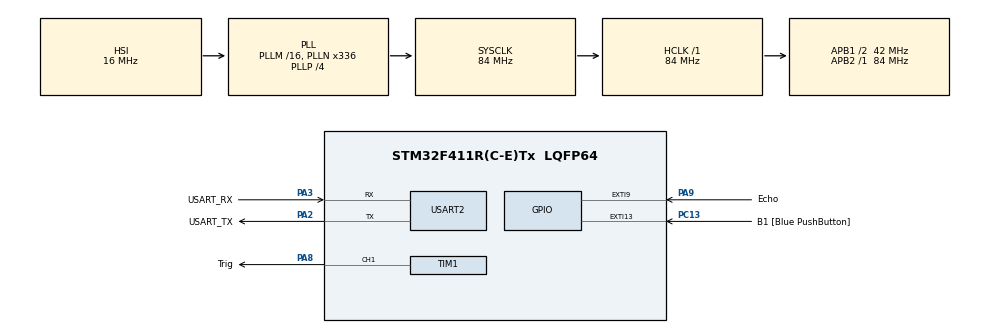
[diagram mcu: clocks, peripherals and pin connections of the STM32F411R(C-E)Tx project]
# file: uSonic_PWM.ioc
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Mcu.Family=STM32F4
Mcu.Name=STM32F411R(C-E)Tx
Mcu.Package=LQFP64
NVIC.EXTI9_5_IRQn=true\:0\:0\:false\:false\:true\:true\:true\:true
NVIC.PriorityGroup=NVIC_PRIORITYGROUP_0
PA13.GPIO_Label=TMS
PA13.Mode=Serial_Wire
PA13.Signal=SYS_JTMS-SWDIO
PA14.GPIO_Label=TCK
PA14.Mode=Serial_Wire
PA14.Signal=SYS_JTCK-SWCLK
PA2.GPIO_Label=USART_TX
PA2.Mode=Asynchronous
PA2.Signal=USART2_TX
PA3.GPIO_Label=USART_RX
PA3.Mode=Asynchronous
PA3.Signal=USART2_RX
PA8.GPIO_Label=Trig
PA8.Signal=S_TIM1_CH1
PA9.GPIO_Label=Echo
PA9.GPIO_ModeDefaultEXTI=GPIO_MODE_IT_RISING_FALLING
PA9.Signal=GPXTI9
PB3.GPIO_Label=SWO
PB3.Signal=SYS_JTDO-SWO
PC13-ANTI_TAMP.GPIO_Label=B1 [Blue PushButton]
PC13-ANTI_TAMP.GPIO_ModeDefaultEXTI=GPIO_MODE_IT_FALLING
PC13-ANTI_TAMP.Signal=GPXTI13
PC14-OSC32_IN.Mode=LSE-External-Oscillator
PC14-OSC32_IN.Signal=RCC_OSC32_IN
PC15-OSC32_OUT.Mode=LSE-External-Oscillator
PC15-OSC32_OUT.Signal=RCC_OSC32_OUT
PH0\ -\ OSC_IN.Mode=HSE-External-Clock-Source
PH0\ -\ OSC_IN.Signal=RCC_OSC_IN
PH1\ -\ OSC_OUT.Mode=HSE-External-Clock-Source
PH1\ -\ OSC_OUT.Signal=RCC_OSC_OUT
ProjectManager.HeapSize=0x200
ProjectManager.StackSize=0x400
ProjectManager.TargetToolchain=STM32CubeIDE
RCC.48MHZClocksFreq_Value=84000000
RCC.AHBFreq_Value=84000000
RCC.APB1CLKDivider=RCC_HCLK_DIV2
RCC.APB1Freq_Value=42000000
RCC.APB1TimFreq_Value=84000000
RCC.APB2Freq_Value=84000000
RCC.APB2TimFreq_Value=84000000
RCC.CortexFreq_Value=84000000
RCC.FLatency-AdvancedSettings=FLASH_LATENCY_2
RCC.HCLKFreq_Value=84000000
RCC.HSE_VALUE=8000000
RCC.HSI_VALUE=16000000
RCC.PLLN=336
RCC.PLLP=RCC_PLLP_DIV4
RCC.SYSCLKFreq_VALUE=84000000
RCC.SYSCLKSource=RCC_SYSCLKSOURCE_PLLCLK
RCC.VCOOutputFreq_Value=336000000
SH.S_TIM1_CH1.0=TIM1_CH1,PWM Generation1 CH1
TIM1.Channel-PWM\ Generation1\ CH1=TIM_CHANNEL_1
TIM1.Period=60000-1
TIM1.Prescaler=84-1
TIM1.Pulse-PWM\ Generation1\ CH1=10
TIM2.Prescaler=84-1
USART2.VirtualMode=VM_ASYNC
VP_TIM1_VS_ClockSourceINT.Mode=Internal
VP_TIM2_VS_ClockSourceINT.Mode=Internal
VP_TIM3_VS_ClockSourceINT.Mode=Internal
board=NUCLEO-F411RE

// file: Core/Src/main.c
/* USER CODE BEGIN Header */
/**
  ******************************************************************************
  * @file           : main.c
  * @brief          : Main program body
  ******************************************************************************
  * @attention
  *
  * Copyright (c) 2025 STMicroelectronics.
  * All rights reserved.
  *
  * This software is licensed under terms that can be found in the LICENSE file
  * in the root directory of this software component.
  * If no LICENSE file comes with this software, it is provided AS-IS.
  *
  ******************************************************************************
  */
/* USER CODE END Header */
#include "main.h"

/* USER CODE BEGIN Includes */
#include "uSonic.h"
/* USER CODE END Includes */

TIM_HandleTypeDef htim1;
TIM_HandleTypeDef htim2;
TIM_HandleTypeDef htim3;

UART_HandleTypeDef huart2;

void SystemClock_Config(void);
static void MX_GPIO_Init(void);
static void MX_USART2_UART_Init(void);
static void MX_TIM2_Init(void);
static void MX_TIM3_Init(void);
static void MX_TIM1_Init(void);

/* USER CODE BEGIN 0 */
int t1 = 0, t2 = 0;
double dist = 0;
void HAL_GPIO_EXTI_Callback(uint16_t GPIO_Pin)
{
   if(GPIO_Pin == Echo_Pin)
   {
      if(HAL_GPIO_ReadPin(Echo_GPIO_Port, Echo_Pin) == 1) // rising
      {
         t1 = htim2.Instance->CNT;
      }
      else // falling
      {
         t2 = htim2.Instance->CNT;
         dist = (t2 - t1) * 0.17;
      }
   }
}
//void HAL_TIM_PeriodElapsedCallback(TIM_HandleTypeDef *htim)
//{
//
//}
/* USER CODE END 0 */

int main(void)
{

  /* MCU Configuration--------------------------------------------------------*/

  /* Reset of all peripherals, Initializes the Flash interface and the Systick. */
  HAL_Init();

  /* Configure the system clock */
  SystemClock_Config();

  /* Initialize all configured peripherals */
  MX_GPIO_Init();
  MX_USART2_UART_Init();
  MX_TIM2_Init();
  MX_TIM3_Init();
  MX_TIM1_Init();
  /* USER CODE BEGIN 2 */
  ProgramStart("Mission: uSonic using PWM");
  HAL_TIM_Base_Start(&htim2);
  HAL_TIM_PWM_Start(&htim1, TIM_CHANNEL_1);
  htim1.Instance->CCR1 = 10;
  /* USER CODE END 2 */

  /* Infinite loop */
  /* USER CODE BEGIN WHILE */
  while (1)
  {
     printf("Distance = %f\r\n", dist);
     HAL_Delay(500);
    /* USER CODE END WHILE */

  }
}

void SystemClock_Config(void)
{
  RCC_OscInitTypeDef RCC_OscInitStruct = {0};
  RCC_ClkInitTypeDef RCC_ClkInitStruct = {0};

  /** Configure the main internal regulator output voltage
  */
  __HAL_RCC_PWR_CLK_ENABLE();
  __HAL_PWR_VOLTAGESCALING_CONFIG(PWR_REGULATOR_VOLTAGE_SCALE1);

  /** Initializes the RCC Oscillators according to the specified parameters
  * in the RCC_OscInitTypeDef structure.
  */
  RCC_OscInitStruct.OscillatorType = RCC_OSCILLATORTYPE_HSI;
  RCC_OscInitStruct.HSIState = RCC_HSI_ON;
  RCC_OscInitStruct.HSICalibrationValue = RCC_HSICALIBRATION_DEFAULT;
  RCC_OscInitStruct.PLL.PLLState = RCC_PLL_ON;
  RCC_OscInitStruct.PLL.PLLSource = RCC_PLLSOURCE_HSI;
  RCC_OscInitStruct.PLL.PLLM = 16;
  RCC_OscInitStruct.PLL.PLLN = 336;
  RCC_OscInitStruct.PLL.PLLP = RCC_PLLP_DIV4;
  RCC_OscInitStruct.PLL.PLLQ = 4;
  if (HAL_RCC_OscConfig(&RCC_OscInitStruct) != HAL_OK)
  {
    Error_Handler();
  }

  /** Initializes the CPU, AHB and APB buses clocks
  */
  RCC_ClkInitStruct.ClockType = RCC_CLOCKTYPE_HCLK|RCC_CLOCKTYPE_SYSCLK
                              |RCC_CLOCKTYPE_PCLK1|RCC_CLOCKTYPE_PCLK2;
  RCC_ClkInitStruct.SYSCLKSource = RCC_SYSCLKSOURCE_PLLCLK;
  RCC_ClkInitStruct.AHBCLKDivider = RCC_SYSCLK_DIV1;
  RCC_ClkInitStruct.APB1CLKDivider = RCC_HCLK_DIV2;
  RCC_ClkInitStruct.APB2CLKDivider = RCC_HCLK_DIV1;

  if (HAL_RCC_ClockConfig(&RCC_ClkInitStruct, FLASH_LATENCY_2) != HAL_OK)
  {
    Error_Handler();
  }
}

static void MX_TIM1_Init(void)
{

  TIM_ClockConfigTypeDef sClockSourceConfig = {0};
  TIM_MasterConfigTypeDef sMasterConfig = {0};
  TIM_OC_InitTypeDef sConfigOC = {0};
  TIM_BreakDeadTimeConfigTypeDef sBreakDeadTimeConfig = {0};

  htim1.Instance = TIM1;
  htim1.Init.Prescaler = 84-1;
  htim1.Init.CounterMode = TIM_COUNTERMODE_UP;
  htim1.Init.Period = 60000-1;
  htim1.Init.ClockDivision = TIM_CLOCKDIVISION_DIV1;
  htim1.Init.RepetitionCounter = 0;
  htim1.Init.AutoReloadPreload = TIM_AUTORELOAD_PRELOAD_DISABLE;
  if (HAL_TIM_Base_Init(&htim1) != HAL_OK)
  {
    Error_Handler();
  }
  sClockSourceConfig.ClockSource = TIM_CLOCKSOURCE_INTERNAL;
  if (HAL_TIM_ConfigClockSource(&htim1, &sClockSourceConfig) != HAL_OK)
  {
    Error_Handler();
  }
  if (HAL_TIM_PWM_Init(&htim1) != HAL_OK)
  {
    Error_Handler();
  }
  sMasterConfig.MasterOutputTrigger = TIM_TRGO_RESET;
  sMasterConfig.MasterSlaveMode = TIM_MASTERSLAVEMODE_DISABLE;
  if (HAL_TIMEx_MasterConfigSynchronization(&htim1, &sMasterConfig) != HAL_OK)
  {
    Error_Handler();
  }
  sConfigOC.OCMode = TIM_OCMODE_PWM1;
  sConfigOC.Pulse = 10;
  sConfigOC.OCPolarity = TIM_OCPOLARITY_HIGH;
  sConfigOC.OCNPolarity = TIM_OCNPOLARITY_HIGH;
  sConfigOC.OCFastMode = TIM_OCFAST_DISABLE;
  sConfigOC.OCIdleState = TIM_OCIDLESTATE_RESET;
  sConfigOC.OCNIdleState = TIM_OCNIDLESTATE_RESET;
  if (HAL_TIM_PWM_ConfigChannel(&htim1, &sConfigOC, TIM_CHANNEL_1) != HAL_OK)
  {
    Error_Handler();
  }
  sBreakDeadTimeConfig.OffStateRunMode = TIM_OSSR_DISABLE;
  sBreakDeadTimeConfig.OffStateIDLEMode = TIM_OSSI_DISABLE;
  sBreakDeadTimeConfig.LockLevel = TIM_LOCKLEVEL_OFF;
  sBreakDeadTimeConfig.DeadTime = 0;
  sBreakDeadTimeConfig.BreakState = TIM_BREAK_DISABLE;
  sBreakDeadTimeConfig.BreakPolarity = TIM_BREAKPOLARITY_HIGH;
  sBreakDeadTimeConfig.AutomaticOutput = TIM_AUTOMATICOUTPUT_DISABLE;
  if (HAL_TIMEx_ConfigBreakDeadTime(&htim1, &sBreakDeadTimeConfig) != HAL_OK)
  {
    Error_Handler();
  }
  HAL_TIM_MspPostInit(&htim1);

}

static void MX_TIM2_Init(void)
{

  TIM_ClockConfigTypeDef sClockSourceConfig = {0};
  TIM_MasterConfigTypeDef sMasterConfig = {0};

  htim2.Instance = TIM2;
  htim2.Init.Prescaler = 84-1;
  htim2.Init.CounterMode = TIM_COUNTERMODE_UP;
  htim2.Init.Period = 4294967295;
  htim2.Init.ClockDivision = TIM_CLOCKDIVISION_DIV1;
  htim2.Init.AutoReloadPreload = TIM_AUTORELOAD_PRELOAD_DISABLE;
  if (HAL_TIM_Base_Init(&htim2) != HAL_OK)
  {
    Error_Handler();
  }
  sClockSourceConfig.ClockSource = TIM_CLOCKSOURCE_INTERNAL;
  if (HAL_TIM_ConfigClockSource(&htim2, &sClockSourceConfig) != HAL_OK)
  {
    Error_Handler();
  }
  sMasterConfig.MasterOutputTrigger = TIM_TRGO_RESET;
  sMasterConfig.MasterSlaveMode = TIM_MASTERSLAVEMODE_DISABLE;
  if (HAL_TIMEx_MasterConfigSynchronization(&htim2, &sMasterConfig) != HAL_OK)
  {
    Error_Handler();
  }

}

static void MX_TIM3_Init(void)
{

  TIM_ClockConfigTypeDef sClockSourceConfig = {0};
  TIM_MasterConfigTypeDef sMasterConfig = {0};

  htim3.Instance = TIM3;
  htim3.Init.Prescaler = 0;
  htim3.Init.CounterMode = TIM_COUNTERMODE_UP;
  htim3.Init.Period = 65535;
  htim3.Init.ClockDivision = TIM_CLOCKDIVISION_DIV1;
  htim3.Init.AutoReloadPreload = TIM_AUTORELOAD_PRELOAD_DISABLE;
  if (HAL_TIM_Base_Init(&htim3) != HAL_OK)
  {
    Error_Handler();
  }
  sClockSourceConfig.ClockSource = TIM_CLOCKSOURCE_INTERNAL;
  if (HAL_TIM_ConfigClockSource(&htim3, &sClockSourceConfig) != HAL_OK)
  {
    Error_Handler();
  }
  sMasterConfig.MasterOutputTrigger = TIM_TRGO_RESET;
  sMasterConfig.MasterSlaveMode = TIM_MASTERSLAVEMODE_DISABLE;
  if (HAL_TIMEx_MasterConfigSynchronization(&htim3, &sMasterConfig) != HAL_OK)
  {
    Error_Handler();
  }

}

static void MX_USART2_UART_Init(void)
{

  huart2.Instance = USART2;
  huart2.Init.BaudRate = 115200;
  huart2.Init.WordLength = UART_WORDLENGTH_8B;
  huart2.Init.StopBits = UART_STOPBITS_1;
  huart2.Init.Parity = UART_PARITY_NONE;
  huart2.Init.Mode = UART_MODE_TX_RX;
  huart2.Init.HwFlowCtl = UART_HWCONTROL_NONE;
  huart2.Init.OverSampling = UART_OVERSAMPLING_16;
  if (HAL_UART_Init(&huart2) != HAL_OK)
  {
    Error_Handler();
  }

}

static void MX_GPIO_Init(void)
{
  GPIO_InitTypeDef GPIO_InitStruct = {0};

  /* GPIO Ports Clock Enable */
  __HAL_RCC_GPIOC_CLK_ENABLE();
  __HAL_RCC_GPIOH_CLK_ENABLE();
  __HAL_RCC_GPIOA_CLK_ENABLE();
  __HAL_RCC_GPIOB_CLK_ENABLE();

  /*Configure GPIO pin : B1_Pin */
  GPIO_InitStruct.Pin = B1_Pin;
  GPIO_InitStruct.Mode = GPIO_MODE_IT_FALLING;
  GPIO_InitStruct.Pull = GPIO_NOPULL;
  HAL_GPIO_Init(B1_GPIO_Port, &GPIO_InitStruct);

  /*Configure GPIO pin : Echo_Pin */
  GPIO_InitStruct.Pin = Echo_Pin;
  GPIO_InitStruct.Mode = GPIO_MODE_IT_RISING_FALLING;
  GPIO_InitStruct.Pull = GPIO_NOPULL;
  HAL_GPIO_Init(Echo_GPIO_Port, &GPIO_InitStruct);

  /* EXTI interrupt init*/
  HAL_NVIC_SetPriority(EXTI9_5_IRQn, 0, 0);
  HAL_NVIC_EnableIRQ(EXTI9_5_IRQn);

}

void Error_Handler(void)
{
  __disable_irq();
  while (1)
  {
  }
}
